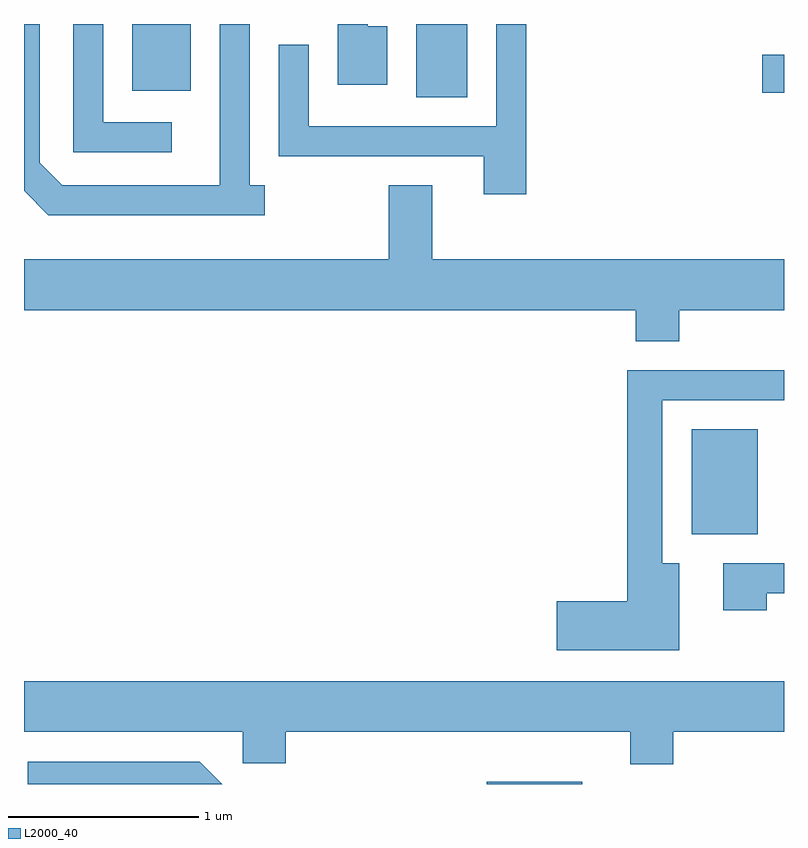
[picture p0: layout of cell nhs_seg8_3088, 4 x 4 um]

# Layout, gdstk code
import gdstk
lib = gdstk.Library(unit=1e-6, precision=1e-09)
def R(c, l, rs):  # rectangles x0, y0, x1, y1
    for r in rs: c.add(gdstk.rectangle(r[:2], r[2:], *l))
def P(c, l, *ps):  # polygons
    for p in ps: c.add(gdstk.Polygon(p, *l))
L2000_40 = (2000, 40)

nhs_seg8_3088 = lib.new_cell('nhs_seg8_3088')
R(nhs_seg8_3088, L2000_40, [(280.046,1858.342,280.548,1858.354), (281.126,1859.656,281.474,1860.209), (279.676,1861.956,279.944,1862.342), (281.496,1861.981,281.611,1862.179), (278.181,1861.991,278.489,1862.342)])
P(nhs_seg8_3088, L2000_40, [(278.388,1861.824),(278.029,1861.824),(278.029,1862.342),(277.871,1862.342),(277.871,1861.666),(278.388,1861.666)],
  [(278.878,1861.494),(278.799,1861.494),(278.799,1862.342),(278.641,1862.342),(278.641,1861.494),(277.812,1861.494),(277.694,1861.612),(277.694,1862.342),(277.611,1862.342),(277.611,1861.464),(277.739,1861.336),(278.878,1861.336)],
  [(279.524,1862.329),(279.419,1862.329),(279.419,1862.342),(279.261,1862.342),(279.261,1862.021),(279.524,1862.021)],
  [(280.254,1862.342),(280.096,1862.342),(280.096,1861.804),(279.109,1861.804),(279.109,1862.233),(278.951,1862.233),(278.951,1861.646),(280.031,1861.646),(280.031,1861.446),(280.254,1861.446)],
  [(281.059,1860.836),(281.611,1860.836),(281.611,1861.104),(279.759,1861.104),(279.759,1861.494),(279.531,1861.494),(279.531,1861.104),(277.611,1861.104),(277.611,1860.836),(280.831,1860.836),(280.831,1860.671),(281.059,1860.671)],
  [(281.059,1859.504),(280.969,1859.504),(280.969,1860.361),(281.611,1860.361),(281.611,1860.519),(280.786,1860.519),(280.786,1859.304),(280.416,1859.304),(280.416,1859.046),(281.059,1859.046)],
  [(281.519,1859.346),(281.611,1859.346),(281.611,1859.504),(281.291,1859.504),(281.291,1859.256),(281.519,1859.256)],
  [(281.029,1858.616),(281.611,1858.616),(281.611,1858.884),(277.611,1858.884),(277.611,1858.616),(278.761,1858.616),(278.761,1858.451),(278.989,1858.451),(278.989,1858.616),(280.801,1858.616),(280.801,1858.446),(281.029,1858.446)],
  [(278.537,1858.459),(277.631,1858.459),(277.631,1858.342),(278.654,1858.342)])

lib.write_gds('nhs_seg8_3088.gds')
